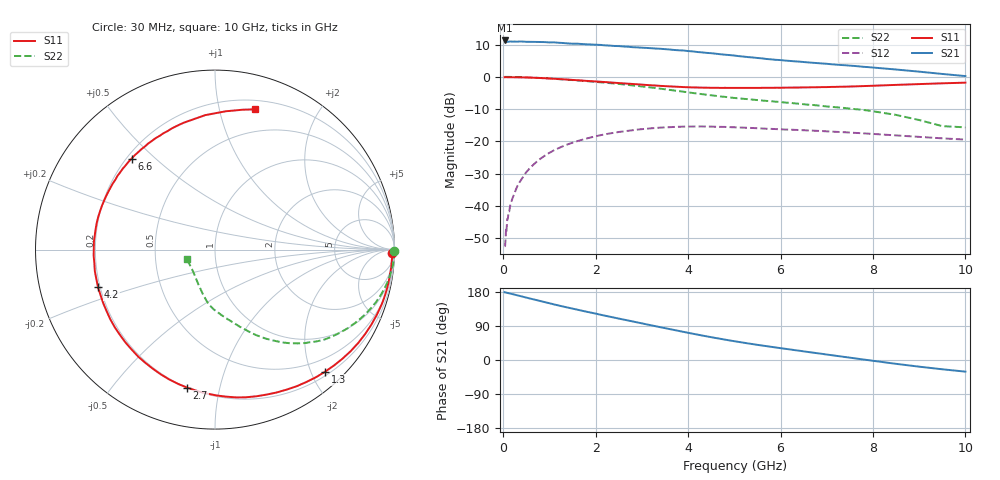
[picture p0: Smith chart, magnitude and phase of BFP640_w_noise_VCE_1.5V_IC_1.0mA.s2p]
! Infineon Technologies  Discrete & RF Semiconductors
! BFP640
! VCE =  1.5 V,  IC =  1.0 mA
! Common Emitter S-Parameters:  Apr 2013
# GHz  S  MA  R  50
!  f  S11  S21  S12  S22
! GHz  MAG  ANG  MAG  ANG  MAG  ANG  MAG  ANG
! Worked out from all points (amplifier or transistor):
!   99 points, 30 MHz to 10 GHz, reference 50 ohm
!   highest |S21| = 11.3 dB at 30 MHz (marker M1)
!   |S21| within 3 dB of that: start of sweep to 3.754 GHz
!   unconditionally stable (mu >= 1): 7.198 GHz to end of sweep
!   at 350 MHz: K = 0.01, MSG = 21.8 dB, |S12| = -32.7 dB
!   at 3.5 GHz: K = 0.43, MSG = 12.1 dB, |S12| = -15.6 dB
!   at 10 GHz: K = 1.42, MAG = 6.0 dB, |S12| = -19.4 dB
!   lowest NFmin = 0.65 dB at 450 MHz
!   S11 on the Smith chart (normalised r, x): 30 MHz: 48, -73; 1.3 GHz: 0.26, -2.22; 2.7 GHz: 0.20, -0.80; 4.2 GHz: 0.19, -0.15; 6.6 GHz: 0.22, +0.42; 10 GHz: 0.28, +1.29
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0.03  0.9876 -1.1  3.658 178.8  0.0024 80.1  0.9997 -0.6
0.04  0.9874 -1.5  3.463 178.5  0.0024 95.0  0.9996 -0.8
0.06  0.9895 -2.1  3.464 177.9  0.0045 94.0  0.9979 -1.2
0.07  0.9875 -2.5  3.476 177.7  0.0041 82.6  0.9986 -1.4
0.09  0.9872 -3.3  3.483 177.1  0.0064 82.2  0.9985 -1.8
0.12  0.9863 -4.4  3.509 176.2  0.0083 86.8  0.9983 -2.3
0.35  0.9827 -12.8  3.523 169.3  0.0232 83.3  0.9909 -6.7
0.9  0.9526 -33.1  3.45 152.7  0.0603 69.8  0.9518 -16.5
1.3  0.9156 -48.0  3.338 141.0  0.0849 59.5  0.9126 -23.1
1.7  0.8765 -62.8  3.221 130.2  0.106 49.9  0.8692 -29.2
2.1  0.8405 -78.3  3.122 119.6  0.1249 40.8  0.8234 -35.2
2.7  0.7844 -101.4  2.924 104.3  0.1464 28.1  0.751 -43.2
3.4  0.725 -129.9  2.72 86.5  0.1638 14.1  0.6562 -52.4
4.2  0.6848 -162.1  2.424 67.1  0.1706 -0.8  0.551 -62.2
4.6  0.677 -177.1  2.281 58.0  0.1691 -7.3  0.5082 -66.3
5.1  0.6755 167.0  2.092 47.6  0.1648 -14.3  0.4646 -70.7
5.6  0.676 153.8  1.931 38.2  0.1589 -20.2  0.4309 -74.5
6.6  0.6877 132.5  1.673 21.1  0.148 -29.5  0.3709 -83.5
6.7  0.6902 130.4  1.651 19.5  0.1472 -30.4  0.3673 -84.3
7.6  0.7114 111.7  1.474 4.5  0.136 -37.1  0.3172 -94.3
8.5  0.7513 94.1  1.299 -10.1  0.1242 -42.0  0.2579 -105.1
10  0.8135 73.9  1.028 -30.7  0.107 -44.2  0.1655 -162.3
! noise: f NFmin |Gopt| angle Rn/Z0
0.45  0.65  0.65  13  0.46
0.9  0.72  0.66  25  0.45
1.5  0.9  0.57  42  0.42
1.9  0.97  0.53  56  0.41
2.4  1.04  0.5  66  0.39
3.5  1.24  0.43  95  0.34
5.5  1.75  0.38  -177  0.34
10  3.04  0.68  -70  1.23
